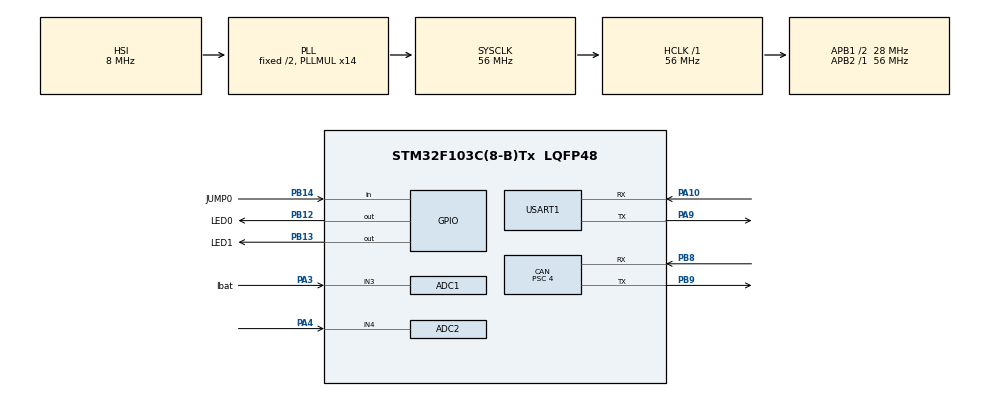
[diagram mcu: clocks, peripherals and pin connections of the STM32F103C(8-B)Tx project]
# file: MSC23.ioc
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ADC1.Channel-0\#ChannelRegularConversion=ADC_CHANNEL_3
ADC1.Channel-1\#ChannelRegularConversion=ADC_CHANNEL_3
ADC1.Channel-2\#ChannelRegularConversion=ADC_CHANNEL_3
ADC1.Channel-3\#ChannelRegularConversion=ADC_CHANNEL_3
ADC1.ContinuousConvMode=DISABLE
ADC1.ExternalTrigConv=ADC_EXTERNALTRIGCONV_T3_TRGO
ADC1.Mode=ADC_DUALMODE_REGSIMULT
ADC1.NbrOfConversion=4
ADC1.NbrOfConversionFlag=1
ADC1.Rank-0\#ChannelRegularConversion=1
ADC1.Rank-1\#ChannelRegularConversion=2
ADC1.Rank-2\#ChannelRegularConversion=3
ADC1.Rank-3\#ChannelRegularConversion=4
ADC1.SamplingTime-0\#ChannelRegularConversion=ADC_SAMPLETIME_41CYCLES_5
ADC1.SamplingTime-1\#ChannelRegularConversion=ADC_SAMPLETIME_41CYCLES_5
ADC1.SamplingTime-2\#ChannelRegularConversion=ADC_SAMPLETIME_41CYCLES_5
ADC1.SamplingTime-3\#ChannelRegularConversion=ADC_SAMPLETIME_41CYCLES_5
ADC1.master=1
ADC2.Channel-4\#ChannelRegularConversion=ADC_CHANNEL_4
ADC2.Channel-5\#ChannelRegularConversion=ADC_CHANNEL_4
ADC2.Channel-6\#ChannelRegularConversion=ADC_CHANNEL_4
ADC2.Channel-7\#ChannelRegularConversion=ADC_CHANNEL_4
ADC2.ContinuousConvMode=DISABLE
ADC2.Mode=ADC_DUALMODE_REGSIMULT
ADC2.NbrOfConversion=4
ADC2.NbrOfConversionFlag=1
ADC2.Rank-4\#ChannelRegularConversion=1
ADC2.Rank-5\#ChannelRegularConversion=2
ADC2.Rank-6\#ChannelRegularConversion=3
ADC2.Rank-7\#ChannelRegularConversion=4
ADC2.SamplingTime-4\#ChannelRegularConversion=ADC_SAMPLETIME_1CYCLE_5
ADC2.SamplingTime-5\#ChannelRegularConversion=ADC_SAMPLETIME_1CYCLE_5
ADC2.SamplingTime-6\#ChannelRegularConversion=ADC_SAMPLETIME_1CYCLE_5
ADC2.SamplingTime-7\#ChannelRegularConversion=ADC_SAMPLETIME_1CYCLE_5
CAN.BS1=CAN_BS1_11TQ
CAN.BS2=CAN_BS2_2TQ
CAN.CalculateBaudRate=500000
CAN.CalculateTimeBit=2000
CAN.CalculateTimeQuantum=142.85714285714286
CAN.Prescaler=4
Dma.ADC1.0.Direction=DMA_PERIPH_TO_MEMORY
Dma.ADC1.0.Instance=DMA1_Channel1
Dma.ADC1.0.MemDataAlignment=DMA_MDATAALIGN_WORD
Dma.ADC1.0.MemInc=DMA_MINC_ENABLE
Dma.ADC1.0.Mode=DMA_CIRCULAR
Dma.ADC1.0.PeriphDataAlignment=DMA_PDATAALIGN_WORD
Dma.ADC1.0.PeriphInc=DMA_PINC_DISABLE
Dma.ADC1.0.Priority=DMA_PRIORITY_LOW
Dma.Request0=ADC1
Mcu.Family=STM32F1
Mcu.Name=STM32F103C(8-B)Tx
Mcu.Package=LQFP48
NVIC.DMA1_Channel1_IRQn=true\:0\:0\:false\:false\:true\:false\:true\:true
NVIC.PriorityGroup=NVIC_PRIORITYGROUP_4
NVIC.TIM1_UP_IRQn=true\:0\:0\:false\:false\:true\:true\:true\:true
PA10.Mode=Asynchronous
PA10.Signal=USART1_RX
PA13.Mode=Trace_Asynchronous_SW
PA13.Signal=SYS_JTMS-SWDIO
PA14.Mode=Trace_Asynchronous_SW
PA14.Signal=SYS_JTCK-SWCLK
PA3.GPIO_Label=Ibat
PA3.Signal=ADCx_IN3
PA4.Signal=ADCx_IN4
PA9.Mode=Asynchronous
PA9.Signal=USART1_TX
PB12.GPIO_Label=LED0
PB12.Signal=GPIO_Output
PB13.GPIO_Label=LED1
PB13.Signal=GPIO_Output
PB14.GPIO_Label=JUMP0
PB14.Signal=GPIO_Input
PB3.Mode=Trace_Asynchronous_SW
PB3.Signal=SYS_JTDO-TRACESWO
PB8.Mode=CAN_Activate
PB8.Signal=CAN_RX
PB9.Mode=CAN_Activate
PB9.Signal=CAN_TX
ProjectManager.HeapSize=0x200
ProjectManager.StackSize=0x400
ProjectManager.TargetToolchain=Makefile
RCC.ADCPresc=RCC_ADCPCLK2_DIV4
RCC.AHBFreq_Value=56000000
RCC.APB1CLKDivider=RCC_HCLK_DIV2
RCC.APB1Freq_Value=28000000
RCC.APB1TimFreq_Value=56000000
RCC.APB2Freq_Value=56000000
RCC.APB2TimFreq_Value=56000000
RCC.HCLKFreq_Value=56000000
RCC.PLLMUL=RCC_PLL_MUL14
RCC.SYSCLKFreq_VALUE=56000000
RCC.SYSCLKSource=RCC_SYSCLKSOURCE_PLLCLK
RCC.USBFreq_Value=56000000
SH.ADCx_IN3.0=ADC1_IN3,IN3
SH.ADCx_IN4.0=ADC1_IN4
SH.ADCx_IN4.1=ADC2_IN4,IN4
TIM1.AutoReloadPreload=TIM_AUTORELOAD_PRELOAD_ENABLE
TIM1.Prescaler=2
TIM3.Period=441
TIM3.TIM_MasterOutputTrigger=TIM_TRGO_UPDATE
TIM4.AutoReloadPreload=TIM_AUTORELOAD_PRELOAD_ENABLE
TIM4.Period=441
TIM4.TIM_MasterOutputTrigger=TIM_TRGO_OC4REF
USART1.VirtualMode=VM_ASYNC
VP_TIM1_VS_ClockSourceINT.Mode=Internal
VP_TIM3_VS_ClockSourceINT.Mode=Internal
VP_TIM4_VS_ClockSourceINT.Mode=Internal
board=custom

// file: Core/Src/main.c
/* USER CODE BEGIN Header */
/**
 ******************************************************************************
 * @file           : main.c
 * @brief          : Main program body
 ******************************************************************************
 * @attention
 *
 * Copyright (c) 2023 STMicroelectronics.
 * All rights reserved.
 *
 * This software is licensed under terms that can be found in the LICENSE file
 * in the root directory of this software component.
 * If no LICENSE file comes with this software, it is provided AS-IS.
 *
 ******************************************************************************
 */
/* USER CODE END Header */
#include "main.h"

/* USER CODE BEGIN Includes */
#include "adc.h"
#include "tim.h"
#include "can_app.h"
/* USER CODE END Includes */

ADC_HandleTypeDef hadc1;
ADC_HandleTypeDef hadc2;
DMA_HandleTypeDef hdma_adc1;

CAN_HandleTypeDef hcan;

TIM_HandleTypeDef htim1;
TIM_HandleTypeDef htim3;
TIM_HandleTypeDef htim4;

UART_HandleTypeDef huart1;

/* USER CODE BEGIN PV */
volatile uint32_t can_app_trigger2[64];
volatile uint32_t can_app_trigger;

/* USER CODE END PV */

void SystemClock_Config(void);
static void MX_GPIO_Init(void);
static void MX_DMA_Init(void);
static void MX_ADC1_Init(void);
static void MX_CAN_Init(void);
static void MX_USART1_UART_Init(void);
static void MX_TIM1_Init(void);
static void MX_TIM3_Init(void);
static void MX_TIM4_Init(void);
static void MX_ADC2_Init(void);

int main(void)
{

  /* MCU Configuration--------------------------------------------------------*/

  /* Reset of all peripherals, Initializes the Flash interface and the Systick. */
  HAL_Init();

  /* Configure the system clock */
  SystemClock_Config();

  /* Initialize all configured peripherals */
  MX_GPIO_Init();
  MX_DMA_Init();
  MX_ADC1_Init();
  MX_CAN_Init();
  MX_USART1_UART_Init();
  MX_TIM1_Init();
  MX_TIM3_Init();
  MX_TIM4_Init();
  MX_ADC2_Init();
  /* USER CODE BEGIN 2 */
	adc_init(&hadc1, &hadc2, &htim3);
	adc_start(ADC_FREQ);

	can_init(&hcan);

	tim_set_freq(&htim1, CAN_FREQUENCY);
	HAL_TIM_Base_Start_IT(&htim1);
  /* USER CODE END 2 */

  /* Infinite loop */
  /* USER CODE BEGIN WHILE */
	while (1)
	{

		if (can_app_trigger)
		{
			can_send_task();
			// Reset trigger
			can_app_trigger = 0;
		}
    /* USER CODE END WHILE */

	}
}

void SystemClock_Config(void)
{
  RCC_OscInitTypeDef RCC_OscInitStruct = {0};
  RCC_ClkInitTypeDef RCC_ClkInitStruct = {0};
  RCC_PeriphCLKInitTypeDef PeriphClkInit = {0};

  /** Initializes the RCC Oscillators according to the specified parameters
  * in the RCC_OscInitTypeDef structure.
  */
  RCC_OscInitStruct.OscillatorType = RCC_OSCILLATORTYPE_HSI;
  RCC_OscInitStruct.HSIState = RCC_HSI_ON;
  RCC_OscInitStruct.HSICalibrationValue = RCC_HSICALIBRATION_DEFAULT;
  RCC_OscInitStruct.PLL.PLLState = RCC_PLL_ON;
  RCC_OscInitStruct.PLL.PLLSource = RCC_PLLSOURCE_HSI_DIV2;
  RCC_OscInitStruct.PLL.PLLMUL = RCC_PLL_MUL14;
  if (HAL_RCC_OscConfig(&RCC_OscInitStruct) != HAL_OK)
  {
    Error_Handler();
  }

  /** Initializes the CPU, AHB and APB buses clocks
  */
  RCC_ClkInitStruct.ClockType = RCC_CLOCKTYPE_HCLK|RCC_CLOCKTYPE_SYSCLK
                              |RCC_CLOCKTYPE_PCLK1|RCC_CLOCKTYPE_PCLK2;
  RCC_ClkInitStruct.SYSCLKSource = RCC_SYSCLKSOURCE_PLLCLK;
  RCC_ClkInitStruct.AHBCLKDivider = RCC_SYSCLK_DIV1;
  RCC_ClkInitStruct.APB1CLKDivider = RCC_HCLK_DIV2;
  RCC_ClkInitStruct.APB2CLKDivider = RCC_HCLK_DIV1;

  if (HAL_RCC_ClockConfig(&RCC_ClkInitStruct, FLASH_LATENCY_2) != HAL_OK)
  {
    Error_Handler();
  }
  PeriphClkInit.PeriphClockSelection = RCC_PERIPHCLK_ADC;
  PeriphClkInit.AdcClockSelection = RCC_ADCPCLK2_DIV4;
  if (HAL_RCCEx_PeriphCLKConfig(&PeriphClkInit) != HAL_OK)
  {
    Error_Handler();
  }
}

static void MX_ADC1_Init(void)
{

  ADC_MultiModeTypeDef multimode = {0};
  ADC_ChannelConfTypeDef sConfig = {0};

  /** Common config
  */
  hadc1.Instance = ADC1;
  hadc1.Init.ScanConvMode = ADC_SCAN_ENABLE;
  hadc1.Init.ContinuousConvMode = DISABLE;
  hadc1.Init.DiscontinuousConvMode = DISABLE;
  hadc1.Init.ExternalTrigConv = ADC_EXTERNALTRIGCONV_T3_TRGO;
  hadc1.Init.DataAlign = ADC_DATAALIGN_RIGHT;
  hadc1.Init.NbrOfConversion = 4;
  if (HAL_ADC_Init(&hadc1) != HAL_OK)
  {
    Error_Handler();
  }

  /** Configure the ADC multi-mode
  */
  multimode.Mode = ADC_DUALMODE_REGSIMULT;
  if (HAL_ADCEx_MultiModeConfigChannel(&hadc1, &multimode) != HAL_OK)
  {
    Error_Handler();
  }

  /** Configure Regular Channel
  */
  sConfig.Channel = ADC_CHANNEL_3;
  sConfig.Rank = ADC_REGULAR_RANK_1;
  sConfig.SamplingTime = ADC_SAMPLETIME_41CYCLES_5;
  if (HAL_ADC_ConfigChannel(&hadc1, &sConfig) != HAL_OK)
  {
    Error_Handler();
  }

  /** Configure Regular Channel
  */
  sConfig.Rank = ADC_REGULAR_RANK_2;
  if (HAL_ADC_ConfigChannel(&hadc1, &sConfig) != HAL_OK)
  {
    Error_Handler();
  }

  /** Configure Regular Channel
  */
  sConfig.Rank = ADC_REGULAR_RANK_3;
  if (HAL_ADC_ConfigChannel(&hadc1, &sConfig) != HAL_OK)
  {
    Error_Handler();
  }

  /** Configure Regular Channel
  */
  sConfig.Rank = ADC_REGULAR_RANK_4;
  if (HAL_ADC_ConfigChannel(&hadc1, &sConfig) != HAL_OK)
  {
    Error_Handler();
  }

}

static void MX_ADC2_Init(void)
{

  ADC_ChannelConfTypeDef sConfig = {0};

  /** Common config
  */
  hadc2.Instance = ADC2;
  hadc2.Init.ScanConvMode = ADC_SCAN_ENABLE;
  hadc2.Init.ContinuousConvMode = DISABLE;
  hadc2.Init.DiscontinuousConvMode = DISABLE;
  hadc2.Init.ExternalTrigConv = ADC_SOFTWARE_START;
  hadc2.Init.DataAlign = ADC_DATAALIGN_RIGHT;
  hadc2.Init.NbrOfConversion = 4;
  if (HAL_ADC_Init(&hadc2) != HAL_OK)
  {
    Error_Handler();
  }

  /** Configure Regular Channel
  */
  sConfig.Channel = ADC_CHANNEL_4;
  sConfig.Rank = ADC_REGULAR_RANK_1;
  sConfig.SamplingTime = ADC_SAMPLETIME_1CYCLE_5;
  if (HAL_ADC_ConfigChannel(&hadc2, &sConfig) != HAL_OK)
  {
    Error_Handler();
  }

  /** Configure Regular Channel
  */
  sConfig.Rank = ADC_REGULAR_RANK_2;
  if (HAL_ADC_ConfigChannel(&hadc2, &sConfig) != HAL_OK)
  {
    Error_Handler();
  }

  /** Configure Regular Channel
  */
  sConfig.Rank = ADC_REGULAR_RANK_3;
  if (HAL_ADC_ConfigChannel(&hadc2, &sConfig) != HAL_OK)
  {
    Error_Handler();
  }

  /** Configure Regular Channel
  */
  sConfig.Rank = ADC_REGULAR_RANK_4;
  if (HAL_ADC_ConfigChannel(&hadc2, &sConfig) != HAL_OK)
  {
    Error_Handler();
  }

}

static void MX_CAN_Init(void)
{

  hcan.Instance = CAN1;
  hcan.Init.Prescaler = 4;
  hcan.Init.Mode = CAN_MODE_NORMAL;
  hcan.Init.SyncJumpWidth = CAN_SJW_1TQ;
  hcan.Init.TimeSeg1 = CAN_BS1_11TQ;
  hcan.Init.TimeSeg2 = CAN_BS2_2TQ;
  hcan.Init.TimeTriggeredMode = DISABLE;
  hcan.Init.AutoBusOff = DISABLE;
  hcan.Init.AutoWakeUp = DISABLE;
  hcan.Init.AutoRetransmission = DISABLE;
  hcan.Init.ReceiveFifoLocked = DISABLE;
  hcan.Init.TransmitFifoPriority = DISABLE;
  if (HAL_CAN_Init(&hcan) != HAL_OK)
  {
    Error_Handler();
  }

}

static void MX_TIM1_Init(void)
{

  TIM_ClockConfigTypeDef sClockSourceConfig = {0};
  TIM_MasterConfigTypeDef sMasterConfig = {0};

  htim1.Instance = TIM1;
  htim1.Init.Prescaler = 2;
  htim1.Init.CounterMode = TIM_COUNTERMODE_UP;
  htim1.Init.Period = 65535;
  htim1.Init.ClockDivision = TIM_CLOCKDIVISION_DIV1;
  htim1.Init.RepetitionCounter = 0;
  htim1.Init.AutoReloadPreload = TIM_AUTORELOAD_PRELOAD_ENABLE;
  if (HAL_TIM_Base_Init(&htim1) != HAL_OK)
  {
    Error_Handler();
  }
  sClockSourceConfig.ClockSource = TIM_CLOCKSOURCE_INTERNAL;
  if (HAL_TIM_ConfigClockSource(&htim1, &sClockSourceConfig) != HAL_OK)
  {
    Error_Handler();
  }
  sMasterConfig.MasterOutputTrigger = TIM_TRGO_RESET;
  sMasterConfig.MasterSlaveMode = TIM_MASTERSLAVEMODE_DISABLE;
  if (HAL_TIMEx_MasterConfigSynchronization(&htim1, &sMasterConfig) != HAL_OK)
  {
    Error_Handler();
  }

}

static void MX_TIM3_Init(void)
{

  TIM_ClockConfigTypeDef sClockSourceConfig = {0};
  TIM_MasterConfigTypeDef sMasterConfig = {0};

  htim3.Instance = TIM3;
  htim3.Init.Prescaler = 0;
  htim3.Init.CounterMode = TIM_COUNTERMODE_UP;
  htim3.Init.Period = 441;
  htim3.Init.ClockDivision = TIM_CLOCKDIVISION_DIV1;
  htim3.Init.AutoReloadPreload = TIM_AUTORELOAD_PRELOAD_DISABLE;
  if (HAL_TIM_Base_Init(&htim3) != HAL_OK)
  {
    Error_Handler();
  }
  sClockSourceConfig.ClockSource = TIM_CLOCKSOURCE_INTERNAL;
  if (HAL_TIM_ConfigClockSource(&htim3, &sClockSourceConfig) != HAL_OK)
  {
    Error_Handler();
  }
  sMasterConfig.MasterOutputTrigger = TIM_TRGO_UPDATE;
  sMasterConfig.MasterSlaveMode = TIM_MASTERSLAVEMODE_DISABLE;
  if (HAL_TIMEx_MasterConfigSynchronization(&htim3, &sMasterConfig) != HAL_OK)
  {
    Error_Handler();
  }

}

static void MX_TIM4_Init(void)
{

  TIM_ClockConfigTypeDef sClockSourceConfig = {0};
  TIM_MasterConfigTypeDef sMasterConfig = {0};

  htim4.Instance = TIM4;
  htim4.Init.Prescaler = 0;
  htim4.Init.CounterMode = TIM_COUNTERMODE_UP;
  htim4.Init.Period = 441;
  htim4.Init.ClockDivision = TIM_CLOCKDIVISION_DIV1;
  htim4.Init.AutoReloadPreload = TIM_AUTORELOAD_PRELOAD_ENABLE;
  if (HAL_TIM_Base_Init(&htim4) != HAL_OK)
  {
    Error_Handler();
  }
  sClockSourceConfig.ClockSource = TIM_CLOCKSOURCE_INTERNAL;
  if (HAL_TIM_ConfigClockSource(&htim4, &sClockSourceConfig) != HAL_OK)
  {
    Error_Handler();
  }
  sMasterConfig.MasterOutputTrigger = TIM_TRGO_OC4REF;
  sMasterConfig.MasterSlaveMode = TIM_MASTERSLAVEMODE_DISABLE;
  if (HAL_TIMEx_MasterConfigSynchronization(&htim4, &sMasterConfig) != HAL_OK)
  {
    Error_Handler();
  }

}

static void MX_USART1_UART_Init(void)
{

  huart1.Instance = USART1;
  huart1.Init.BaudRate = 115200;
  huart1.Init.WordLength = UART_WORDLENGTH_8B;
  huart1.Init.StopBits = UART_STOPBITS_1;
  huart1.Init.Parity = UART_PARITY_NONE;
  huart1.Init.Mode = UART_MODE_TX_RX;
  huart1.Init.HwFlowCtl = UART_HWCONTROL_NONE;
  huart1.Init.OverSampling = UART_OVERSAMPLING_16;
  if (HAL_UART_Init(&huart1) != HAL_OK)
  {
    Error_Handler();
  }

}

static void MX_DMA_Init(void)
{

  /* DMA controller clock enable */
  __HAL_RCC_DMA1_CLK_ENABLE();

  /* DMA interrupt init */
  /* DMA1_Channel1_IRQn interrupt configuration */
  HAL_NVIC_SetPriority(DMA1_Channel1_IRQn, 0, 0);
  HAL_NVIC_EnableIRQ(DMA1_Channel1_IRQn);

}

static void MX_GPIO_Init(void)
{
  GPIO_InitTypeDef GPIO_InitStruct = {0};

  /* GPIO Ports Clock Enable */
  __HAL_RCC_GPIOA_CLK_ENABLE();
  __HAL_RCC_GPIOB_CLK_ENABLE();

  /*Configure GPIO pin Output Level */
  HAL_GPIO_WritePin(GPIOB, LED0_Pin|LED1_Pin, GPIO_PIN_RESET);

  /*Configure GPIO pins : LED0_Pin LED1_Pin */
  GPIO_InitStruct.Pin = LED0_Pin|LED1_Pin;
  GPIO_InitStruct.Mode = GPIO_MODE_OUTPUT_PP;
  GPIO_InitStruct.Pull = GPIO_NOPULL;
  GPIO_InitStruct.Speed = GPIO_SPEED_FREQ_LOW;
  HAL_GPIO_Init(GPIOB, &GPIO_InitStruct);

  /*Configure GPIO pin : JUMP0_Pin */
  GPIO_InitStruct.Pin = JUMP0_Pin;
  GPIO_InitStruct.Mode = GPIO_MODE_INPUT;
  GPIO_InitStruct.Pull = GPIO_NOPULL;
  HAL_GPIO_Init(JUMP0_GPIO_Port, &GPIO_InitStruct);

}

/* USER CODE BEGIN 4 */
void HAL_TIM_PeriodElapsedCallback(TIM_HandleTypeDef *htim)
{

/* When is timer 1 interrupt */
	if (htim->Instance == htim1.Instance)
	{
		can_app_trigger = 1;
		HAL_GPIO_TogglePin(LED0_GPIO_Port, LED0_Pin);
	}

}

/* USER CODE END 4 */

void Error_Handler(void)
{
	__disable_irq();
	while (1)
	{
	}
}
